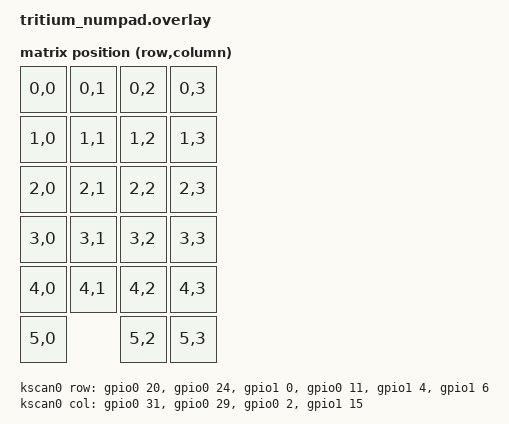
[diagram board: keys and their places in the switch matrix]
/*
 * Tritium Numpad ZMK Shield Overlay
 * Controller: ProMicro NRF52840 (SuperMini NRF52840)
 *
 * Pin mapping (from official pinout diagram):
 *   Row 0 → pin 3  → P0.20
 *   Row 1 → pin 5  → P0.24
 *   Row 2 → pin 6  → P1.00
 *   Row 3 → pin 7  → P0.11
 *   Row 4 → pin 8  → P1.04
 *   Row 5 → pin 9  → P1.06
 *   Col 0 → A0     → P0.31
 *   Col 1 → A1     → P0.29
 *   Col 2 → A2     → P0.02
 *   Col 3 → A3     → P1.15
 *
 * diode-direction: row2col
 */

#include <dt-bindings/zmk/matrix_transform.h>

/ {
    chosen {
        zmk,kscan = &kscan0;
        zmk,matrix_transform = &default_transform;
    };

    default_transform: keymap_transform_0 {
        compatible = "zmk,matrix-transform";
        columns = <4>;
        rows = <6>;

        map = <
            RC(0,0) RC(0,1) RC(0,2) RC(0,3)
            RC(1,0) RC(1,1) RC(1,2) RC(1,3)
            RC(2,0) RC(2,1) RC(2,2) RC(2,3)
            RC(3,0) RC(3,1) RC(3,2) RC(3,3)
            RC(4,0) RC(4,1) RC(4,2) RC(4,3)
            RC(5,0)         RC(5,2) RC(5,3)
        >;
    };

    kscan0: kscan {
        compatible = "zmk,kscan-gpio-matrix";
        label = "KSCAN";
        diode-direction = "row2col";

        row-gpios
            = <&gpio0 20 (GPIO_ACTIVE_HIGH | GPIO_PULL_DOWN)>   /* Row 0: pin 3  */
            , <&gpio0 24 (GPIO_ACTIVE_HIGH | GPIO_PULL_DOWN)>   /* Row 1: pin 5  */
            , <&gpio1  0 (GPIO_ACTIVE_HIGH | GPIO_PULL_DOWN)>   /* Row 2: pin 6  */
            , <&gpio0 11 (GPIO_ACTIVE_HIGH | GPIO_PULL_DOWN)>   /* Row 3: pin 7  */
            , <&gpio1  4 (GPIO_ACTIVE_HIGH | GPIO_PULL_DOWN)>   /* Row 4: pin 8  */
            , <&gpio1  6 (GPIO_ACTIVE_HIGH | GPIO_PULL_DOWN)>   /* Row 5: pin 9  */
            ;

        col-gpios
            = <&gpio0 31 (GPIO_ACTIVE_HIGH | GPIO_PULL_DOWN)>   /* Col 0: A0 */
            , <&gpio0 29 (GPIO_ACTIVE_HIGH | GPIO_PULL_DOWN)>   /* Col 1: A1 */
            , <&gpio0  2 (GPIO_ACTIVE_HIGH | GPIO_PULL_DOWN)>   /* Col 2: A2 */
            , <&gpio1 15 (GPIO_ACTIVE_HIGH | GPIO_PULL_DOWN)>   /* Col 3: A3 */
            ;
    };
};
